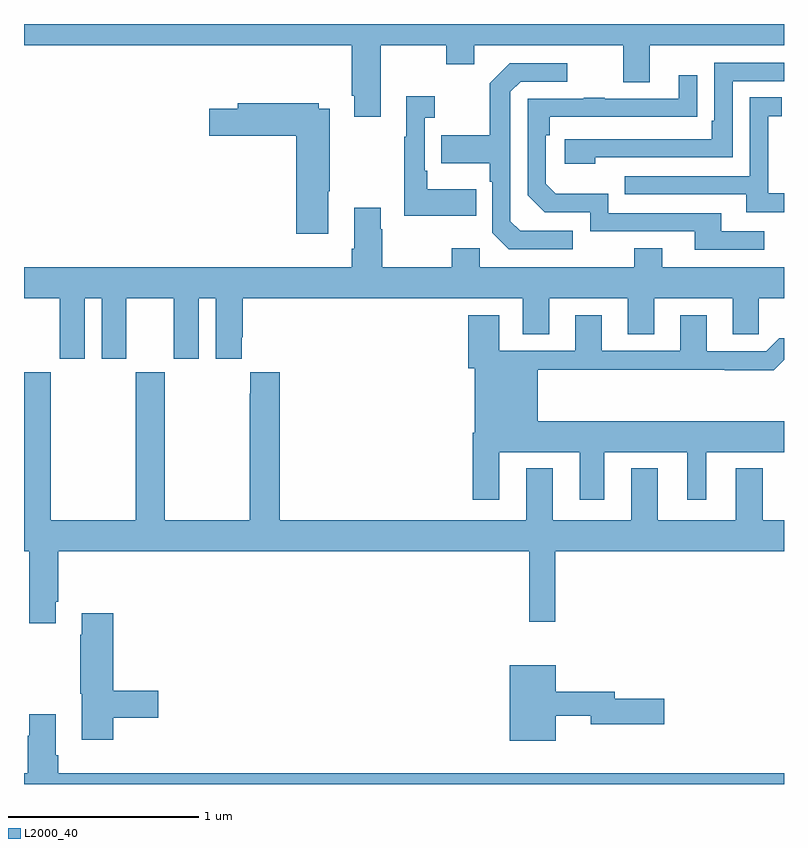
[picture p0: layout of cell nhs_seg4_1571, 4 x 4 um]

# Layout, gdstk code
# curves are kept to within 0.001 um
import gdstk
lib = gdstk.Library(unit=1e-6, precision=1e-09)
def P(c, l, *ps):  # polygons
    for p in ps: c.add(gdstk.Polygon(p, *l))
L2000_40 = (2000, 40)

nhs_seg4_1571 = lib.new_cell('nhs_seg4_1571')
P(nhs_seg4_1571, L2000_40, [(192.877,828.788),(193.222,828.788),(193.222,828.689),(193.369,828.689),(193.369,828.788),(194.153,828.788),(194.153,828.594),(194.293,828.594),(194.293,828.788),(195,828.788),(195,828.9),(191,828.9),(191,828.788),(192.725,828.788),(192.725,828.523),(192.737,828.523),(192.737,828.411),(192.877,828.411)],
  [(194.006,828.198),(194.73,828.198),(194.73,828.6),(195,828.6),(195,828.696),(194.634,828.696),(194.634,828.391),(194.621,828.391),(194.621,828.294),(193.845,828.294),(193.845,828.164),(194.006,828.164)],
  [(193.888,827.811),(193.611,827.811),(193.56,827.862),(193.56,828.543),(193.614,828.597),(193.858,828.597),(193.858,828.693),(193.557,828.693),(193.452,828.587),(193.452,828.315),(193.195,828.315),(193.195,828.167),(193.452,828.167),(193.452,828.071),(193.464,828.071),(193.464,827.802),(193.551,827.715),(193.888,827.715)],
  [(194.896,827.808),(194.671,827.808),(194.671,827.904),(194.076,827.904),(194.076,828.007),(193.799,828.007),(193.746,828.06),(193.746,828.314),(193.766,828.314),(193.766,828.411),(194.543,828.412),(194.543,828.631),(194.447,828.631),(194.447,828.507),(194.057,828.507),(194.057,828.512),(193.945,828.512),(193.945,828.507),(193.65,828.507),(193.65,828),(193.74,827.91),(193.98,827.91),(193.98,827.808),(194.531,827.808),(194.531,827.712),(194.896,827.712)],
  [(193.379,828.031),(193.123,828.031),(193.123,828.127),(193.11,828.127),(193.11,828.407),(193.162,828.407),(193.162,828.52),(193.013,828.52),(193.013,828.307),(193.002,828.307),(193.002,827.891),(193.379,827.891)],
  [(195,828.009),(194.916,828.009),(194.916,828.414),(194.989,828.414),(194.989,828.515),(194.82,828.515),(194.82,828.099),(194.161,828.099),(194.161,828.003),(194.801,828.003),(194.801,827.909),(195,827.909)],
  [(192.601,828.019),(192.609,828.019),(192.609,828.454),(192.552,828.454),(192.552,828.483),(192.125,828.483),(192.125,828.453),(191.976,828.453),(191.976,828.311),(192.434,828.311),(192.434,827.796),(192.601,827.796)],
  [(191.32,827.456),(191.408,827.456),(191.408,827.139),(191.539,827.139),(191.539,827.456),(191.789,827.456),(191.789,827.139),(191.92,827.139),(191.92,827.456),(192.008,827.456),(192.008,827.139),(192.145,827.139),(192.145,827.251),(192.152,827.251),(192.152,827.456),(193.625,827.456),(193.625,827.266),(193.765,827.266),(193.765,827.456),(194.177,827.456),(194.177,827.266),(194.317,827.266),(194.317,827.456),(194.729,827.456),(194.729,827.266),(194.868,827.266),(194.868,827.456),(195,827.456),(195,827.62),(194.359,827.62),(194.359,827.719),(194.212,827.719),(194.212,827.62),(193.398,827.62),(193.398,827.719),(193.252,827.719),(193.252,827.62),(192.885,827.62),(192.885,827.819),(192.877,827.819),(192.877,827.932),(192.737,827.932),(192.737,827.716),(192.725,827.716),(192.725,827.62),(191,827.62),(191,827.456),(191.189,827.456),(191.189,827.139),(191.32,827.139)],
  [(193.501,826.646),(193.925,826.646),(193.925,826.395),(194.053,826.395),(194.053,826.646),(194.492,826.646),(194.492,826.395),(194.59,826.395),(194.59,826.646),(195,826.646),(195,826.81),(193.705,826.81),(193.705,827.08),(194.689,827.08),(194.689,827.078),(194.945,827.078),(195,827.133),(195,827.245),(194.974,827.245),(194.907,827.178),(194.593,827.178),(194.593,827.368),(194.453,827.368),(194.453,827.181),(194.041,827.181),(194.041,827.368),(193.901,827.368),(193.901,827.181),(193.501,827.181),(193.501,827.368),(193.337,827.368),(193.337,827.088),(193.373,827.088),(193.373,826.75),(193.361,826.75),(193.361,826.395),(193.501,826.395)],
  [(191.167,825.859),(191.18,825.859),(191.18,826.124),(193.66,826.124),(193.66,825.753),(193.796,825.753),(193.796,826.124),(195,826.124),(195,826.288),(194.887,826.288),(194.887,826.561),(194.747,826.561),(194.747,826.288),(194.335,826.288),(194.335,826.561),(194.195,826.561),(194.195,826.288),(193.783,826.288),(193.783,826.561),(193.643,826.561),(193.643,826.288),(192.347,826.288),(192.347,827.068),(192.191,827.068),(192.191,826.955),(192.187,826.955),(192.187,826.288),(191.742,826.288),(191.742,827.068),(191.587,827.068),(191.587,826.288),(191.142,826.288),(191.142,827.068),(191,827.068),(191,826.124),(191.027,826.124),(191.027,825.747),(191.167,825.747)],
  [(191.471,825.25),(191.707,825.25),(191.707,825.392),(191.471,825.392),(191.471,825.799),(191.303,825.799),(191.303,825.686),(191.296,825.686),(191.296,825.375),(191.303,825.375),(191.303,825.132),(191.471,825.132)],
  [(193.798,825.258),(193.982,825.258),(193.982,825.215),(194.371,825.215),(194.371,825.35),(194.11,825.35),(194.11,825.386),(193.798,825.386),(193.798,825.526),(193.556,825.526),(193.556,825.128),(193.798,825.128)],
  [(195,824.956),(191.18,824.956),(191.18,825.052),(191.167,825.052),(191.167,825.268),(191.027,825.268),(191.027,825.155),(191.02,825.155),(191.02,824.956),(191,824.956),(191,824.9),(195,824.9)])

lib.write_gds('nhs_seg4_1571.gds')
